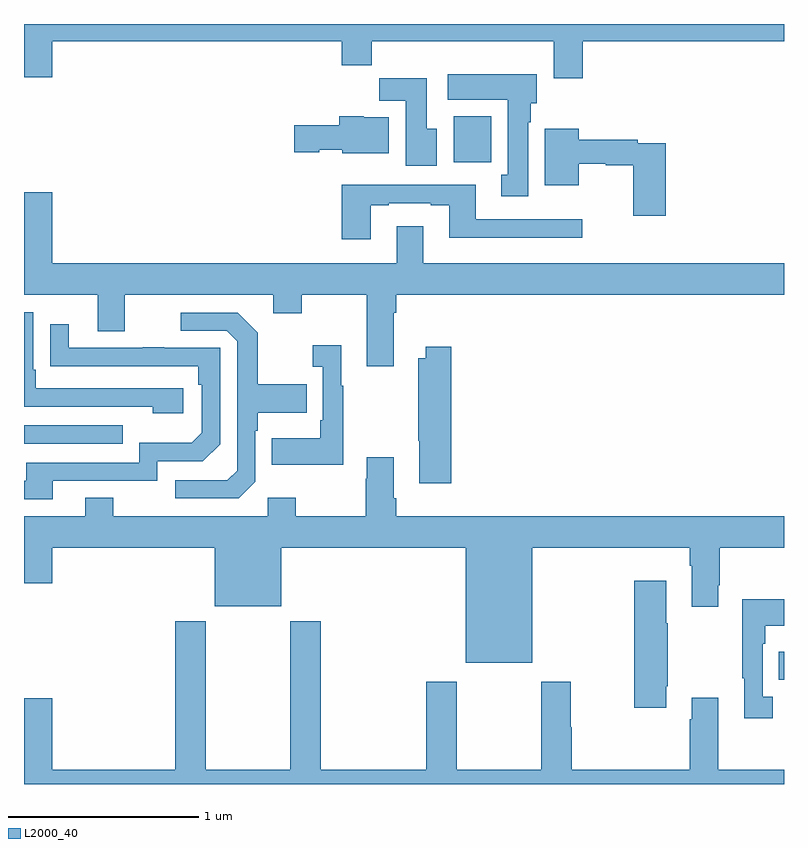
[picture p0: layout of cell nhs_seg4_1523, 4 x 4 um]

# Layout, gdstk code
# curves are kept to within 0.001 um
import gdstk
lib = gdstk.Library(unit=1e-6, precision=1e-09)
def R(c, l, rs):  # rectangles x0, y0, x1, y1
    for r in rs: c.add(gdstk.rectangle(r[:2], r[2:], *l))
def P(c, l, *ps):  # polygons
    for p in ps: c.add(gdstk.Polygon(p, *l))
L2000_40 = (2000, 40)

nhs_seg4_1523 = lib.new_cell('nhs_seg4_1523')
R(nhs_seg4_1523, L2000_40, [(192.973,805.45,193,805.597), (189,806.691,189.521,806.787), (191.261,808.172,191.458,808.414)])
P(nhs_seg4_1523, L2000_40, [(191.942,808.808),(193,808.808),(193,808.9),(189,808.9),(189,808.62),(189.148,808.62),(189.148,808.808),(190.673,808.808),(190.673,808.684),(190.829,808.684),(190.829,808.808),(191.789,808.808),(191.789,808.614),(191.942,808.614)],
  [(191.653,808.382),(191.668,808.382),(191.668,808.482),(191.698,808.482),(191.698,808.636),(191.229,808.636),(191.229,808.502),(191.546,808.502),(191.546,808.106),(191.513,808.106),(191.513,807.993),(191.653,807.993)],
  [(191.173,808.348),(191.119,808.348),(191.119,808.615),(190.87,808.615),(190.87,808.496),(191.009,808.496),(191.009,808.155),(191.173,808.155)],
  [(190.921,808.408),(190.788,808.408),(190.788,808.414),(190.658,808.414),(190.658,808.368),(190.422,808.368),(190.422,808.226),(190.554,808.226),(190.554,808.238),(190.674,808.238),(190.674,808.22),(190.921,808.22)],
  [(192.377,808.272),(192.23,808.272),(192.23,808.292),(191.92,808.292),(191.92,808.348),(191.741,808.348),(191.741,808.052),(191.92,808.052),(191.92,808.164),(192.063,808.164),(192.063,808.156),(192.206,808.156),(192.206,807.891),(192.377,807.891)],
  [(190.825,807.945),(190.921,807.945),(190.921,807.957),(191.141,807.957),(191.141,807.945),(191.237,807.945),(191.237,807.776),(191.938,807.776),(191.938,807.873),(191.377,807.873),(191.377,808.053),(190.913,808.053),(190.913,808.054),(190.673,808.054),(190.673,807.768),(190.825,807.768)],
  [(190.945,807.38),(190.958,807.38),(190.958,807.476),(193,807.476),(193,807.64),(191.101,807.64),(191.101,807.835),(190.961,807.835),(190.961,807.64),(189.148,807.64),(189.148,808.015),(189,808.015),(189,807.476),(189.389,807.476),(189.389,807.282),(189.529,807.282),(189.529,807.476),(190.313,807.476),(190.313,807.377),(190.461,807.377),(190.461,807.476),(190.805,807.476),(190.805,807.099),(190.945,807.099)],
  [(189.838,806.982),(189.061,806.982),(189.061,807.079),(189.048,807.079),(189.048,807.384),(189,807.384),(189,806.886),(189.677,806.886),(189.677,806.852),(189.838,806.852)],
  [(190.218,806.49),(190.218,806.759),(190.231,806.759),(190.231,806.855),(190.487,806.855),(190.487,807.003),(190.231,807.003),(190.231,807.275),(190.125,807.381),(189.825,807.381),(189.825,807.285),(190.068,807.285),(190.122,807.231),(190.122,806.55),(190.071,806.499),(189.795,806.499),(189.795,806.403),(190.131,806.403)],
  [(189.151,806.496),(189.702,806.496),(189.702,806.598),(189.942,806.598),(190.032,806.688),(190.032,807.195),(189.737,807.195),(189.737,807.2),(189.625,807.2),(189.625,807.195),(189.235,807.195),(189.235,807.319),(189.139,807.319),(189.139,807.1),(189.916,807.099),(189.916,807.002),(189.936,807.002),(189.936,806.748),(189.883,806.695),(189.606,806.695),(189.606,806.592),(189.011,806.592),(189.011,806.496),(189,806.496),(189,806.4),(189.151,806.4)],
  [(190.681,806.995),(190.669,806.995),(190.669,807.208),(190.521,807.208),(190.521,807.095),(190.572,807.095),(190.572,806.815),(190.56,806.815),(190.56,806.719),(190.303,806.719),(190.303,806.579),(190.681,806.579)],
  [(191.249,807.202),(191.114,807.202),(191.114,807.142),(191.074,807.142),(191.074,806.707),(191.081,806.707),(191.081,806.484),(191.249,806.484)],
  [(191.674,806.144),(192.503,806.144),(192.503,806.048),(192.515,806.048),(192.515,805.833),(192.655,805.833),(192.655,805.945),(192.663,805.945),(192.663,806.144),(193,806.144),(193,806.308),(190.958,806.308),(190.958,806.404),(190.945,806.404),(190.945,806.62),(190.805,806.62),(190.805,806.507),(190.798,806.507),(190.798,806.308),(190.431,806.308),(190.431,806.407),(190.284,806.407),(190.284,806.308),(189.471,806.308),(189.471,806.407),(189.323,806.407),(189.323,806.308),(189,806.308),(189,805.956),(189.148,805.956),(189.148,806.144),(190.004,806.144),(190.004,805.835),(190.354,805.835),(190.354,806.144),(191.324,806.144),(191.324,805.538),(191.674,805.538)],
  [(192.379,805.414),(192.387,805.414),(192.387,805.745),(192.379,805.745),(192.379,805.969),(192.212,805.969),(192.212,805.302),(192.379,805.302)],
  [(192.94,805.358),(192.888,805.358),(192.888,805.637),(192.901,805.637),(192.901,805.733),(193,805.733),(193,805.873),(192.78,805.873),(192.78,805.457),(192.791,805.457),(192.791,805.245),(192.94,805.245)],
  [(193,804.976),(192.655,804.976),(192.655,805.354),(192.515,805.354),(192.515,805.241),(192.503,805.241),(192.503,804.976),(191.882,804.976),(191.882,805.199),(191.877,805.199),(191.877,805.438),(191.722,805.438),(191.722,804.976),(191.277,804.976),(191.277,805.438),(191.117,805.438),(191.117,804.976),(190.562,804.976),(190.562,805.756),(190.402,805.756),(190.402,804.976),(189.957,804.976),(189.957,805.756),(189.797,805.756),(189.797,804.976),(189.148,804.976),(189.148,805.351),(189,805.351),(189,804.9),(193,804.9)])

lib.write_gds('nhs_seg4_1523.gds')
